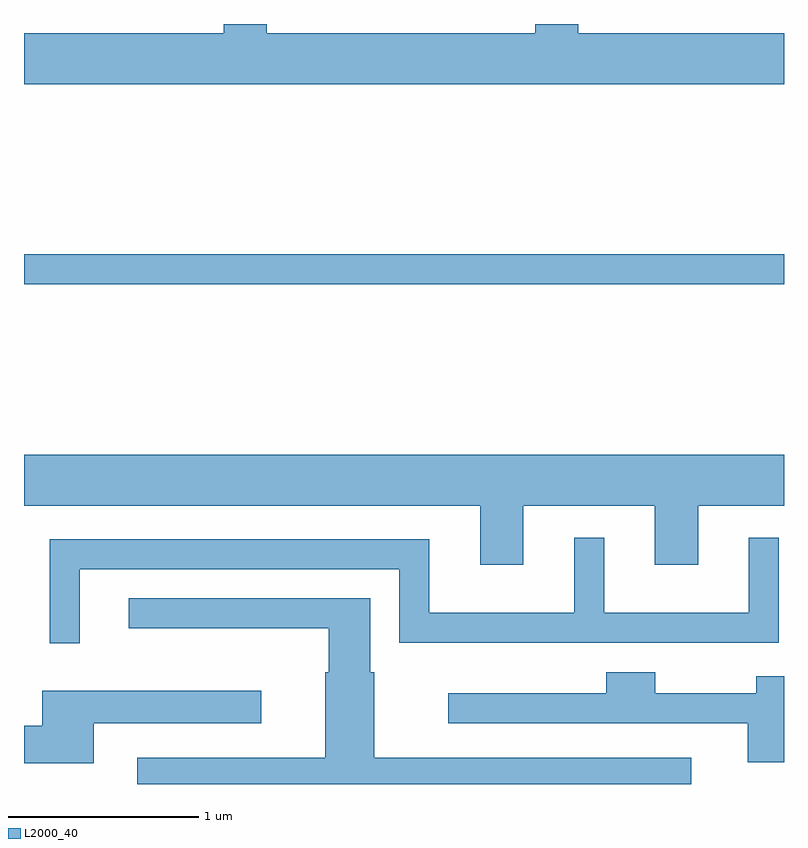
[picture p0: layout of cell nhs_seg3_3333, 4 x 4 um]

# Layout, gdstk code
import gdstk
lib = gdstk.Library(unit=1e-6, precision=1e-09)
def R(c, l, rs):  # rectangles x0, y0, x1, y1
    for r in rs: c.add(gdstk.rectangle(r[:2], r[2:], *l))
def P(c, l, *ps):  # polygons
    for p in ps: c.add(gdstk.Polygon(p, *l))
L2000_40 = (2000, 40)

nhs_seg3_3333 = lib.new_cell('nhs_seg3_3333')
R(nhs_seg3_3333, L2000_40, [(283.611,1120.521,287.611,1120.679)])
P(nhs_seg3_3333, L2000_40, [(287.611,1121.844),(286.529,1121.844),(286.529,1121.892),(286.301,1121.892),(286.301,1121.844),(284.889,1121.844),(284.889,1121.892),(284.661,1121.892),(284.661,1121.844),(283.611,1121.844),(283.611,1121.576),(287.611,1121.576)],
  [(286.239,1119.356),(286.931,1119.356),(286.931,1119.046),(287.159,1119.046),(287.159,1119.356),(287.611,1119.356),(287.611,1119.624),(283.611,1119.624),(283.611,1119.356),(286.011,1119.356),(286.011,1119.046),(286.239,1119.046)],
  [(283.904,1119.021),(285.586,1119.021),(285.586,1118.636),(287.584,1118.636),(287.584,1119.188),(287.426,1119.188),(287.426,1118.794),(286.664,1118.794),(286.664,1119.188),(286.506,1119.188),(286.506,1118.794),(285.744,1118.794),(285.744,1119.179),(283.746,1119.179),(283.746,1118.633),(283.904,1118.633)],
  [(287.124,1118.029),(285.454,1118.029),(285.454,1118.479),(285.434,1118.479),(285.434,1118.869),(284.163,1118.869),(284.163,1118.711),(285.216,1118.711),(285.216,1118.479),(285.196,1118.479),(285.196,1118.029),(284.206,1118.029),(284.206,1117.892),(287.124,1117.892)],
  [(287.611,1118.459),(287.466,1118.459),(287.466,1118.369),(286.934,1118.369),(286.934,1118.479),(286.676,1118.479),(286.676,1118.369),(285.843,1118.369),(285.843,1118.211),(287.421,1118.211),(287.421,1118.006),(287.611,1118.006)],
  [(283.979,1118.211),(284.859,1118.211),(284.859,1118.384),(283.706,1118.384),(283.706,1118.199),(283.611,1118.199),(283.611,1118.001),(283.979,1118.001)])

lib.write_gds('nhs_seg3_3333.gds')
